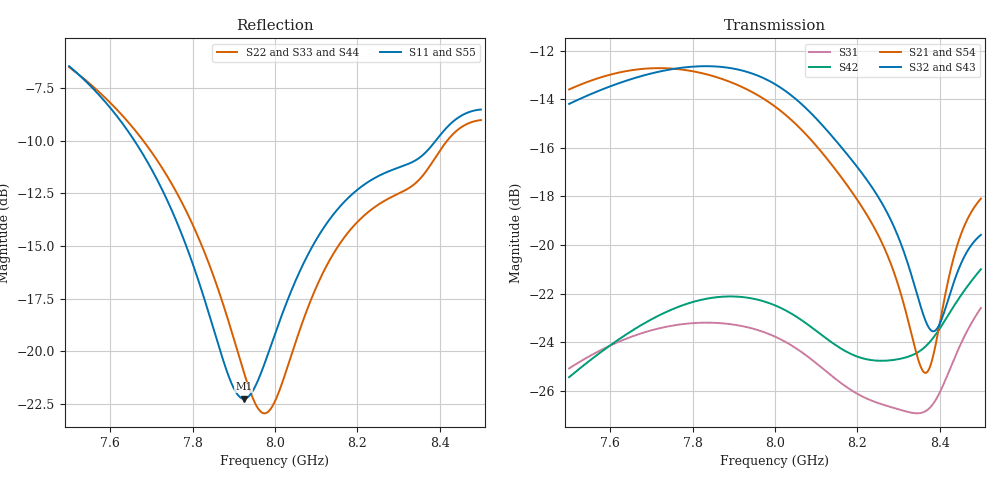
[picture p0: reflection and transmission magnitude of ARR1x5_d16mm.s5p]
! Touchstone file exported from HFSS 2025.1.0
!  File:  C:/Users/user/Documents/Ansoft/TFG_UWB-MIMO-Array.aedt
!  Generated:  04:10:07 PM Nov 20, 2026
!  Design:  ARR1x5_US3_PS6_4_dparam
!  Project:  TFG_UWB-MIMO-Array
!  Setup:  Setup_ch9
!  Solution:  Sweep_7p5_8p5
! Variables:
!  arr_d = 16mm
!  board_m = 13mm
!  board_x = 90mm
!  board_y = 26mm
!  cu_t = 0.035mm
!  line_w = 3.92mm
!  pad_xy = 22mm
!  pad_zn = 25mm
!  pad_zp = 33mm
!  par_L = 7.05mm
!  par_W = 13.58mm
!  par_yc = 0.615mm
!  par_z = 1.035mm
!  patch_L = 6.29mm
!  patch_W = 14mm
!  sub_h = 2.07mm
!  tr_l = 7.25mm
!  tr_w = 1mm
!  u_Lu = 2.65mm
!  u_Wu = 4.4mm
!  u_t = 0.8mm
!  u_y0 = -0.7mm
# GHz S MA R 50.000000
! Terminal data exported
! Port[1] = P1
! Port[2] = P2
! Port[3] = P3
! Port[4] = P4
! Port[5] = P5
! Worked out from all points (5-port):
!   1001 points, 7.5 GHz to 8.5 GHz, reference 50 ohm
!   strongest paths, dB at 7.5 GHz, 7.75 GHz, 8 GHz, 8.25 GHz, 8.5 GHz:
!     S32: -14.2, -12.8, -13.4, -18.0, -19.6
!     S43: -14.2, -12.8, -13.4, -18.0, -19.6
!     S21: -13.6, -12.7, -14.3, -19.6, -18.1
!     S54: -13.6, -12.7, -14.3, -19.6, -18.1
!     S42: -25.4, -22.6, -22.5, -24.7, -21.0
!     S31: -25.1, -23.3, -23.8, -26.5, -22.6
!   lowest |S11| = -22.2 dB at 7.924 GHz (marker M1), VSWR 1.17, Z = 57.9 - j2.62 ohm
!   |S11| at or under -10 dB: 7.659 GHz to 8.39 GHz (731.3 MHz wide, 9.11 % of centre)
